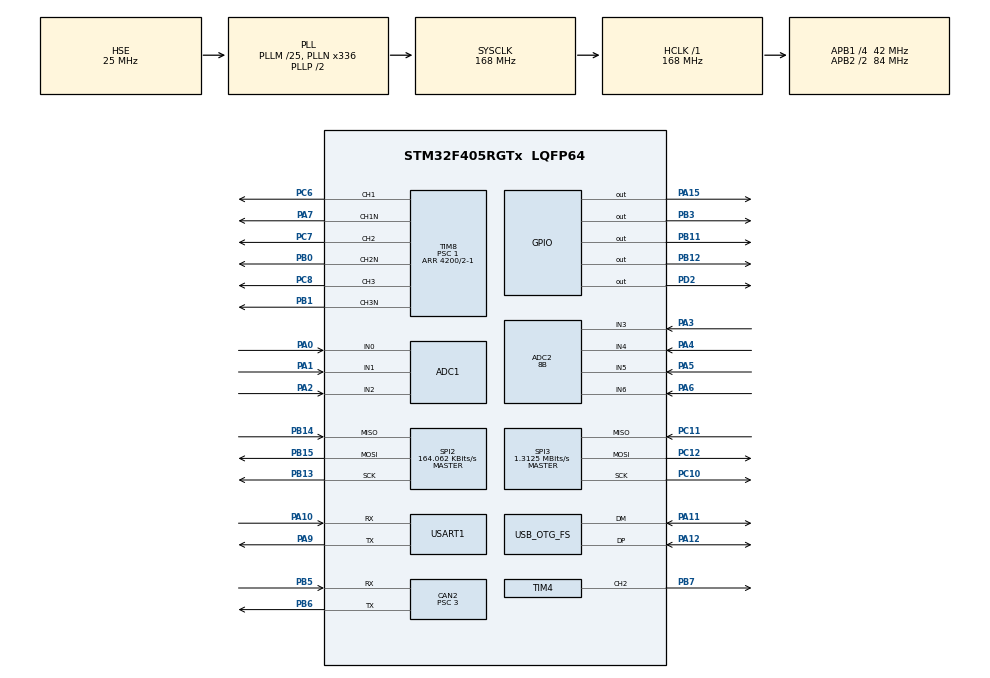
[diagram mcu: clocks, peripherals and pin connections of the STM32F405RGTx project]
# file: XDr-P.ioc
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ADC1.Channel-0\#ChannelRegularConversion=ADC_CHANNEL_0
ADC1.Channel-1\#ChannelRegularConversion=ADC_CHANNEL_1
ADC1.Channel-2\#ChannelRegularConversion=ADC_CHANNEL_2
ADC1.ContinuousConvMode=DISABLE
ADC1.DMAContinuousRequests=ENABLE
ADC1.EOCSelection=ADC_EOC_SEQ_CONV
ADC1.ExternalTrigConv=ADC_EXTERNALTRIGCONV_T8_TRGO
ADC1.ExternalTrigConvEdge=ADC_EXTERNALTRIGCONVEDGE_FALLING
ADC1.InjNumberOfConversion=0
ADC1.NbrOfConversion=3
ADC1.NbrOfConversionFlag=1
ADC1.Rank-0\#ChannelRegularConversion=1
ADC1.Rank-1\#ChannelRegularConversion=2
ADC1.Rank-2\#ChannelRegularConversion=3
ADC1.SamplingTime-0\#ChannelRegularConversion=ADC_SAMPLETIME_3CYCLES
ADC1.SamplingTime-1\#ChannelRegularConversion=ADC_SAMPLETIME_3CYCLES
ADC1.SamplingTime-2\#ChannelRegularConversion=ADC_SAMPLETIME_3CYCLES
ADC1.master=1
ADC2.Channel-0\#ChannelRegularConversion=ADC_CHANNEL_4
ADC2.Channel-1\#ChannelRegularConversion=ADC_CHANNEL_5
ADC2.Channel-2\#ChannelRegularConversion=ADC_CHANNEL_6
ADC2.Channel-3\#ChannelRegularConversion=ADC_CHANNEL_3
ADC2.ClockPrescaler=ADC_CLOCK_SYNC_PCLK_DIV4
ADC2.ContinuousConvMode=DISABLE
ADC2.DMAContinuousRequests=ENABLE
ADC2.NbrOfConversion=4
ADC2.NbrOfConversionFlag=1
ADC2.Rank-0\#ChannelRegularConversion=1
ADC2.Rank-1\#ChannelRegularConversion=2
ADC2.Rank-2\#ChannelRegularConversion=3
ADC2.Rank-3\#ChannelRegularConversion=4
ADC2.Resolution=ADC_RESOLUTION_8B
ADC2.SamplingTime-0\#ChannelRegularConversion=ADC_SAMPLETIME_3CYCLES
ADC2.SamplingTime-1\#ChannelRegularConversion=ADC_SAMPLETIME_3CYCLES
ADC2.SamplingTime-2\#ChannelRegularConversion=ADC_SAMPLETIME_3CYCLES
ADC2.SamplingTime-3\#ChannelRegularConversion=ADC_SAMPLETIME_3CYCLES
ADC2.ScanConvMode=ENABLE
CAN2.ABOM=DISABLE
CAN2.AWUM=DISABLE
CAN2.BS1=CAN_BS1_9TQ
CAN2.BS2=CAN_BS2_4TQ
CAN2.CalculateBaudRate=1000000
CAN2.CalculateTimeBit=1000
CAN2.CalculateTimeQuantum=71.42857142857143
CAN2.Mode=CAN_MODE_NORMAL
CAN2.Prescaler=3
CAN2.TXFP=DISABLE
Dma.ADC1.2.Direction=DMA_PERIPH_TO_MEMORY
Dma.ADC1.2.FIFOMode=DMA_FIFOMODE_DISABLE
Dma.ADC1.2.Instance=DMA2_Stream0
Dma.ADC1.2.MemDataAlignment=DMA_MDATAALIGN_HALFWORD
Dma.ADC1.2.MemInc=DMA_MINC_ENABLE
Dma.ADC1.2.Mode=DMA_CIRCULAR
Dma.ADC1.2.PeriphDataAlignment=DMA_PDATAALIGN_HALFWORD
Dma.ADC1.2.PeriphInc=DMA_PINC_DISABLE
Dma.ADC1.2.Priority=DMA_PRIORITY_HIGH
Dma.ADC2.6.Direction=DMA_PERIPH_TO_MEMORY
Dma.ADC2.6.FIFOMode=DMA_FIFOMODE_ENABLE
Dma.ADC2.6.FIFOThreshold=DMA_FIFO_THRESHOLD_FULL
Dma.ADC2.6.Instance=DMA2_Stream2
Dma.ADC2.6.MemBurst=DMA_MBURST_SINGLE
Dma.ADC2.6.MemDataAlignment=DMA_MDATAALIGN_BYTE
Dma.ADC2.6.MemInc=DMA_MINC_ENABLE
Dma.ADC2.6.Mode=DMA_NORMAL
Dma.ADC2.6.PeriphBurst=DMA_PBURST_SINGLE
Dma.ADC2.6.PeriphDataAlignment=DMA_PDATAALIGN_BYTE
Dma.ADC2.6.PeriphInc=DMA_PINC_DISABLE
Dma.ADC2.6.Priority=DMA_PRIORITY_LOW
Dma.Request0=USART1_TX
Dma.Request1=USART1_RX
Dma.Request2=ADC1
Dma.Request3=SPI3_RX
Dma.Request4=SPI3_TX
Dma.Request5=TIM4_CH2
Dma.Request6=ADC2
Dma.SPI3_RX.3.Direction=DMA_PERIPH_TO_MEMORY
Dma.SPI3_RX.3.FIFOMode=DMA_FIFOMODE_DISABLE
Dma.SPI3_RX.3.Instance=DMA1_Stream0
Dma.SPI3_RX.3.MemDataAlignment=DMA_MDATAALIGN_HALFWORD
Dma.SPI3_RX.3.MemInc=DMA_MINC_ENABLE
Dma.SPI3_RX.3.Mode=DMA_NORMAL
Dma.SPI3_RX.3.PeriphDataAlignment=DMA_PDATAALIGN_HALFWORD
Dma.SPI3_RX.3.PeriphInc=DMA_PINC_DISABLE
Dma.SPI3_RX.3.Priority=DMA_PRIORITY_HIGH
Dma.SPI3_TX.4.Direction=DMA_MEMORY_TO_PERIPH
Dma.SPI3_TX.4.FIFOMode=DMA_FIFOMODE_DISABLE
Dma.SPI3_TX.4.Instance=DMA1_Stream5
Dma.SPI3_TX.4.MemDataAlignment=DMA_MDATAALIGN_HALFWORD
Dma.SPI3_TX.4.MemInc=DMA_MINC_ENABLE
Dma.SPI3_TX.4.Mode=DMA_NORMAL
Dma.SPI3_TX.4.PeriphDataAlignment=DMA_PDATAALIGN_HALFWORD
Dma.SPI3_TX.4.PeriphInc=DMA_PINC_DISABLE
Dma.SPI3_TX.4.Priority=DMA_PRIORITY_HIGH
Dma.TIM4_CH2.5.Direction=DMA_MEMORY_TO_PERIPH
Dma.TIM4_CH2.5.FIFOMode=DMA_FIFOMODE_DISABLE
Dma.TIM4_CH2.5.Instance=DMA1_Stream3
Dma.TIM4_CH2.5.MemDataAlignment=DMA_MDATAALIGN_WORD
Dma.TIM4_CH2.5.MemInc=DMA_MINC_ENABLE
Dma.TIM4_CH2.5.Mode=DMA_NORMAL
Dma.TIM4_CH2.5.PeriphDataAlignment=DMA_PDATAALIGN_WORD
Dma.TIM4_CH2.5.PeriphInc=DMA_PINC_DISABLE
Dma.TIM4_CH2.5.Priority=DMA_PRIORITY_LOW
Dma.USART1_RX.1.Direction=DMA_PERIPH_TO_MEMORY
Dma.USART1_RX.1.FIFOMode=DMA_FIFOMODE_DISABLE
Dma.USART1_RX.1.Instance=DMA2_Stream5
Dma.USART1_RX.1.MemDataAlignment=DMA_MDATAALIGN_BYTE
Dma.USART1_RX.1.MemInc=DMA_MINC_ENABLE
Dma.USART1_RX.1.Mode=DMA_NORMAL
Dma.USART1_RX.1.PeriphDataAlignment=DMA_PDATAALIGN_BYTE
Dma.USART1_RX.1.PeriphInc=DMA_PINC_DISABLE
Dma.USART1_RX.1.Priority=DMA_PRIORITY_LOW
Dma.USART1_TX.0.Direction=DMA_MEMORY_TO_PERIPH
Dma.USART1_TX.0.FIFOMode=DMA_FIFOMODE_DISABLE
Dma.USART1_TX.0.Instance=DMA2_Stream7
Dma.USART1_TX.0.MemDataAlignment=DMA_MDATAALIGN_BYTE
Dma.USART1_TX.0.MemInc=DMA_MINC_ENABLE
Dma.USART1_TX.0.Mode=DMA_NORMAL
Dma.USART1_TX.0.PeriphDataAlignment=DMA_PDATAALIGN_BYTE
Dma.USART1_TX.0.PeriphInc=DMA_PINC_DISABLE
Dma.USART1_TX.0.Priority=DMA_PRIORITY_LOW
Mcu.Family=STM32F4
Mcu.Name=STM32F405RGTx
Mcu.Package=LQFP64
NVIC.CAN2_RX0_IRQn=true\:2\:3\:true\:false\:true\:true\:true\:true
NVIC.DMA1_Stream0_IRQn=true\:2\:0\:true\:false\:true\:false\:true\:true
NVIC.DMA1_Stream3_IRQn=true\:0\:0\:false\:false\:true\:false\:true\:true
NVIC.DMA1_Stream5_IRQn=true\:2\:2\:true\:false\:true\:false\:true\:true
NVIC.DMA2_Stream0_IRQn=true\:1\:0\:true\:false\:true\:false\:true\:true
NVIC.DMA2_Stream2_IRQn=true\:0\:0\:false\:false\:true\:false\:true\:true
NVIC.DMA2_Stream5_IRQn=true\:3\:1\:true\:false\:true\:false\:true\:true
NVIC.DMA2_Stream7_IRQn=true\:3\:2\:true\:false\:true\:false\:true\:true
NVIC.OTG_FS_IRQn=true\:3\:3\:true\:false\:true\:false\:true\:true
NVIC.PriorityGroup=NVIC_PRIORITYGROUP_2
NVIC.SPI3_IRQn=true\:2\:2\:true\:false\:true\:true\:true\:true
NVIC.TIM8_UP_TIM13_IRQn=true\:0\:0\:true\:false\:true\:true\:true\:true
NVIC.USART1_IRQn=true\:3\:0\:true\:false\:true\:true\:true\:true
PA0-WKUP.Signal=ADCx_IN0
PA1.Signal=ADCx_IN1
PA10.Mode=Asynchronous
PA10.Signal=USART1_RX
PA11.Mode=Device_Only
PA11.Signal=USB_OTG_FS_DM
PA12.Mode=Device_Only
PA12.Signal=USB_OTG_FS_DP
PA13.Mode=Serial_Wire
PA13.Signal=SYS_JTMS-SWDIO
PA14.Mode=Serial_Wire
PA14.Signal=SYS_JTCK-SWCLK
PA15.GPIO_PuPd=GPIO_PULLUP
PA15.GPIO_Speed=GPIO_SPEED_FREQ_MEDIUM
PA15.PinState=GPIO_PIN_SET
PA15.Signal=GPIO_Output
PA2.Signal=ADCx_IN2
PA3.Signal=ADCx_IN3
PA4.Signal=ADCx_IN4
PA5.Signal=ADCx_IN5
PA6.Signal=ADCx_IN6
PA7.Mode=PWM Generation1 CH1 CH1N
PA7.Signal=TIM8_CH1N
PA9.Mode=Asynchronous
PA9.Signal=USART1_TX
PB0.Mode=PWM Generation2 CH2 CH2N
PB0.Signal=TIM8_CH2N
PB1.Mode=PWM Generation3 CH3 CH3N
PB1.Signal=TIM8_CH3N
PB11.Signal=GPIO_Output
PB12.GPIO_PuPd=GPIO_PULLUP
PB12.GPIO_Speed=GPIO_SPEED_FREQ_MEDIUM
PB12.PinState=GPIO_PIN_SET
PB12.Signal=GPIO_Output
PB13.GPIO_Speed=GPIO_SPEED_FREQ_HIGH
PB13.Mode=Full_Duplex_Master
PB13.Signal=SPI2_SCK
PB14.GPIO_Speed=GPIO_SPEED_FREQ_HIGH
PB14.Mode=Full_Duplex_Master
PB14.Signal=SPI2_MISO
PB15.GPIO_Speed=GPIO_SPEED_FREQ_HIGH
PB15.Mode=Full_Duplex_Master
PB15.Signal=SPI2_MOSI
PB3.Signal=GPIO_Output
PB5.GPIO_PuPd=GPIO_PULLUP
PB5.Mode=CAN_Activate
PB5.Signal=CAN2_RX
PB6.Mode=CAN_Activate
PB6.Signal=CAN2_TX
PB7.Signal=S_TIM4_CH2
PC10.GPIO_Speed=GPIO_SPEED_FREQ_MEDIUM
PC10.Mode=Full_Duplex_Master
PC10.Signal=SPI3_SCK
PC11.GPIO_PuPd=GPIO_PULLUP
PC11.GPIO_Speed=GPIO_SPEED_FREQ_MEDIUM
PC11.Mode=Full_Duplex_Master
PC11.Signal=SPI3_MISO
PC12.GPIO_Speed=GPIO_SPEED_FREQ_MEDIUM
PC12.Mode=Full_Duplex_Master
PC12.Signal=SPI3_MOSI
PC6.Signal=S_TIM8_CH1
PC7.Signal=S_TIM8_CH2
PC8.Signal=S_TIM8_CH3
PD2.Signal=GPIO_Output
PH0-OSC_IN.Mode=HSE-External-Oscillator
PH0-OSC_IN.Signal=RCC_OSC_IN
PH1-OSC_OUT.Mode=HSE-External-Oscillator
PH1-OSC_OUT.Signal=RCC_OSC_OUT
ProjectManager.HeapSize=0x600
ProjectManager.StackSize=0x800
ProjectManager.TargetToolchain=MDK-ARM V5.32
RCC.48MHZClocksFreq_Value=48000000
RCC.AHBFreq_Value=168000000
RCC.APB1CLKDivider=RCC_HCLK_DIV4
RCC.APB1Freq_Value=42000000
RCC.APB1TimFreq_Value=84000000
RCC.APB2CLKDivider=RCC_HCLK_DIV2
RCC.APB2Freq_Value=84000000
RCC.APB2TimFreq_Value=168000000
RCC.CortexFreq_Value=168000000
RCC.HCLKFreq_Value=168000000
RCC.HSE_VALUE=25000000
RCC.HSI_VALUE=16000000
RCC.LSE_VALUE=32768
RCC.PLLM=25
RCC.PLLN=336
RCC.PLLQ=7
RCC.SYSCLKFreq_VALUE=168000000
RCC.SYSCLKSource=RCC_SYSCLKSOURCE_PLLCLK
RCC.VCOOutputFreq_Value=336000000
SH.ADCx_IN0.0=ADC1_IN0,IN0
SH.ADCx_IN1.0=ADC1_IN1,IN1
SH.ADCx_IN2.0=ADC1_IN2,IN2
SH.ADCx_IN3.0=ADC2_IN3,IN3
SH.ADCx_IN4.0=ADC2_IN4,IN4
SH.ADCx_IN5.0=ADC2_IN5,IN5
SH.ADCx_IN6.0=ADC2_IN6,IN6
SH.S_TIM4_CH2.0=TIM4_CH2,PWM Generation2 CH2
SH.S_TIM8_CH1.0=TIM8_CH1,PWM Generation1 CH1 CH1N
SH.S_TIM8_CH2.0=TIM8_CH2,PWM Generation2 CH2 CH2N
SH.S_TIM8_CH3.0=TIM8_CH3,PWM Generation3 CH3 CH3N
SPI2.BaudRatePrescaler=SPI_BAUDRATEPRESCALER_256
SPI2.CLKPhase=SPI_PHASE_2EDGE
SPI2.CLKPolarity=SPI_POLARITY_HIGH
SPI2.CalculateBaudRate=164.062 KBits/s
SPI2.DataSize=SPI_DATASIZE_8BIT
SPI2.Direction=SPI_DIRECTION_2LINES
SPI2.Mode=SPI_MODE_MASTER
SPI2.VirtualType=VM_MASTER
SPI3.BaudRatePrescaler=SPI_BAUDRATEPRESCALER_32
SPI3.CLKPhase=SPI_PHASE_2EDGE
SPI3.CLKPolarity=SPI_POLARITY_HIGH
SPI3.CalculateBaudRate=1.3125 MBits/s
SPI3.DataSize=SPI_DATASIZE_16BIT
SPI3.Direction=SPI_DIRECTION_2LINES
SPI3.Mode=SPI_MODE_MASTER
SPI3.VirtualType=VM_MASTER
STMicroelectronics.X-CUBE-ALGOBUILD.1.4.0.LibraryCcDSPOoLibraryJjDSPOoLibrary=true
TIM4.Channel-PWM\ Generation2\ CH2=TIM_CHANNEL_2
TIM4.Period=104
TIM8.AutoReloadPreload=TIM_AUTORELOAD_PRELOAD_ENABLE
TIM8.Channel-PWM\ Generation1\ CH1\ CH1N=TIM_CHANNEL_1
TIM8.Channel-PWM\ Generation2\ CH2\ CH2N=TIM_CHANNEL_2
TIM8.Channel-PWM\ Generation3\ CH3\ CH3N=TIM_CHANNEL_3
TIM8.Channel-PWM\ Generation4\ No\ Output=TIM_CHANNEL_4
TIM8.CounterMode=TIM_COUNTERMODE_CENTERALIGNED1
TIM8.DeadTime=4
TIM8.OCMode_PWM-PWM\ Generation4\ No\ Output=TIM_OCMODE_PWM2
TIM8.Period=4200/2-1
TIM8.Prescaler=1
TIM8.RepetitionCounter=0
TIM8.TIM_MasterOutputTrigger=TIM_TRGO_OC4REF
TIM8.TIM_MasterSlaveMode=TIM_MASTERSLAVEMODE_ENABLE
USART1.VirtualMode=VM_ASYNC
USB_DEVICE.APP_RX_DATA_SIZE-CDC_FS=512
USB_DEVICE.APP_TX_DATA_SIZE-CDC_FS=512
USB_DEVICE.CLASS_NAME_FS=CDC
USB_DEVICE.MANUFACTURER_STRING-CDC_FS=wxd
USB_DEVICE.PID_CDC_FS=22337
USB_DEVICE.PRODUCT_STRING_CDC_FS=XDr-P
USB_DEVICE.USBD_MAX_STR_DESC_SIZ-CDC_FS=128
USB_DEVICE.VirtualMode-CDC_FS=Cdc
USB_DEVICE.VirtualModeFS=Cdc_FS
USB_OTG_FS.VirtualMode=Device_Only
VP_STMicroelectronics.X-CUBE-ALGOBUILD_VS_DSPOoLibraryJjLibrary_1.4.0_1.4.0.Mode=DSPOoLibraryJjLibrary
VP_TIM4_VS_ClockSourceINT.Mode=Internal
VP_TIM8_VS_ClockSourceINT.Mode=Internal
VP_TIM8_VS_no_output4.Mode=PWM Generation4 No Output
VP_USB_DEVICE_VS_USB_DEVICE_CDC_FS.Mode=CDC_FS
board=custom

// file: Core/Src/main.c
/* USER CODE BEGIN Header */
/**
 ******************************************************************************
 * @file           : main.c
 * @brief          : Main program body
 ******************************************************************************
 * @attention
 *
 * Copyright (c) 2025 STMicroelectronics.
 * All rights reserved.
 *
 * This software is licensed under terms that can be found in the LICENSE file
 * in the root directory of this software component.
 * If no LICENSE file comes with this software, it is provided AS-IS.
 *
 ******************************************************************************
 */
/* USER CODE END Header */
#include "main.h"
#include "adc.h"
#include "can.h"
#include "dma.h"
#include "spi.h"
#include "tim.h"
#include "usart.h"
#include "usb_device.h"
#include "gpio.h"

/* USER CODE BEGIN Includes */
#include "system_statemachine.h"

#ifdef __DEBUG__
#include "math_fast.h"

u32 time_while_zero = 0;
volatile u32 time_while_T = 0;
#endif
/* USER CODE END Includes */

void SystemClock_Config(void);

int main(void)
{

  /* USER CODE BEGIN 1 */

	  /* 告诉 CPU，中断向量表不在 0x08000000，而在 0x08004000 */
  /* 0x08004000 是你的 App 起始地址，需与 CubeMX 设置一致 */
  SCB->VTOR = FLASH_BASE | 0x4000;
	__enable_irq(); //bl中关闭了全局中断
  /* USER CODE END 1 */

  /* MCU Configuration--------------------------------------------------------*/

  /* Reset of all peripherals, Initializes the Flash interface and the Systick. */
  HAL_Init();

  /* Configure the system clock */
  SystemClock_Config();

  /* Initialize all configured peripherals */
  MX_GPIO_Init();
  MX_DMA_Init();
  MX_SPI2_Init();
  MX_TIM4_Init();
  MX_ADC1_Init();
  MX_ADC2_Init();
  MX_CAN2_Init();
  MX_SPI3_Init();
  MX_USART1_UART_Init();
  MX_TIM8_Init();
  MX_USB_DEVICE_Init();

  /* Infinite loop */
  while (1)
  {

    /* USER CODE BEGIN 3 */
    SystemStateMachine_MainLoop();
#ifdef __DEBUG__ //***********调试************

    time_while_T = HAL_GetTick_us() - time_while_zero;
    time_while_zero = HAL_GetTick_us();
#endif
  }
  /* USER CODE END 3 */
}

void SystemClock_Config(void)
{
  RCC_OscInitTypeDef RCC_OscInitStruct = {0};
  RCC_ClkInitTypeDef RCC_ClkInitStruct = {0};

  /** Configure the main internal regulator output voltage
  */
  __HAL_RCC_PWR_CLK_ENABLE();
  __HAL_PWR_VOLTAGESCALING_CONFIG(PWR_REGULATOR_VOLTAGE_SCALE1);

  /** Initializes the RCC Oscillators according to the specified parameters
  * in the RCC_OscInitTypeDef structure.
  */
  RCC_OscInitStruct.OscillatorType = RCC_OSCILLATORTYPE_HSE;
  RCC_OscInitStruct.HSEState = RCC_HSE_ON;
  RCC_OscInitStruct.PLL.PLLState = RCC_PLL_ON;
  RCC_OscInitStruct.PLL.PLLSource = RCC_PLLSOURCE_HSE;
  RCC_OscInitStruct.PLL.PLLM = 25;
  RCC_OscInitStruct.PLL.PLLN = 336;
  RCC_OscInitStruct.PLL.PLLP = RCC_PLLP_DIV2;
  RCC_OscInitStruct.PLL.PLLQ = 7;
  if (HAL_RCC_OscConfig(&RCC_OscInitStruct) != HAL_OK)
  {
    Error_Handler();
  }

  /** Initializes the CPU, AHB and APB buses clocks
  */
  RCC_ClkInitStruct.ClockType = RCC_CLOCKTYPE_HCLK|RCC_CLOCKTYPE_SYSCLK
                              |RCC_CLOCKTYPE_PCLK1|RCC_CLOCKTYPE_PCLK2;
  RCC_ClkInitStruct.SYSCLKSource = RCC_SYSCLKSOURCE_PLLCLK;
  RCC_ClkInitStruct.AHBCLKDivider = RCC_SYSCLK_DIV1;
  RCC_ClkInitStruct.APB1CLKDivider = RCC_HCLK_DIV4;
  RCC_ClkInitStruct.APB2CLKDivider = RCC_HCLK_DIV2;

  if (HAL_RCC_ClockConfig(&RCC_ClkInitStruct, FLASH_LATENCY_5) != HAL_OK)
  {
    Error_Handler();
  }
}

/* USER CODE BEGIN 4 */
u8 Error_Index = 0;

/* USER CODE END 4 */

void Error_Handler(void)
{
  /* USER CODE BEGIN Error_Handler_Debug */
  /* User can add his own implementation to report the HAL error return state */
  __disable_irq();
  fSystemStateUpdata(SYSTEM_ERROR);
  // while (1)
  // {

  // }
  /* USER CODE END Error_Handler_Debug */
}
